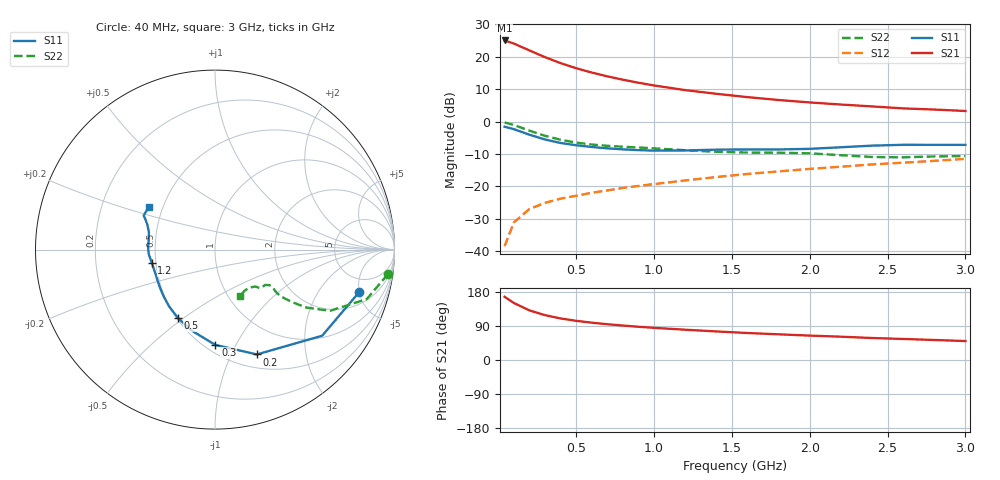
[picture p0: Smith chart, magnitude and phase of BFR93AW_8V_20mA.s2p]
! Filename:  BFR93AWG.S2P  Version:  4.0
! Philips part #: BFR93AW  Date: Jun 1994
! Bias condition: Vce=8V, Ic=20mA
#  MHz  S  MA  R  50
! Freq  S11  S21  S12  S22  !GUM [dB]
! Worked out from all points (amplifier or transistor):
!   21 points, 40 MHz to 3 GHz, reference 50 ohm
!   highest |S21| = 25.1 dB at 40 MHz (marker M1)
!   |S21| within 3 dB of that: start of sweep to 196 MHz
!   unconditionally stable (mu >= 1): 983.6 MHz to end of sweep
!   at 300 MHz: K = 0.54, MSG = 22.5 dB, |S12| = -25.0 dB
!   at 1 GHz: K = 1.01, MAG = 14.7 dB, |S12| = -19.3 dB
!   at 3 GHz: K = 1.03, MAG = 6.3 dB, |S12| = -11.5 dB
!   S11 on the Smith chart (normalised r, x): 40 MHz: 3.14, -4.98; 200 MHz: 0.65, -1.26; 300 MHz: 0.56, -0.83; 500 MHz: 0.51, -0.47; 1.2 GHz: 0.47, -0.08; 3 GHz: 0.42, +0.25
40  0.837 -16.5  17.93 166.7  0.012 81.5  0.973 -8.1
100  0.766 -38.8  16.04 150.3  0.028 71.0  0.889 -18.1
200  0.629 -68.2  12.57 130.8  0.045 60.5  0.726 -28.0
300  0.531 -89.8  9.882 118.3  0.056 56.2  0.605 -32.3
400  0.469 -106.3  8.005 109.6  0.065 55.6  0.526 -34.1
500  0.433 -118.6  6.681 103.4  0.072 56.1  0.476 -35.0
600  0.407 -128.9  5.73 98.5  0.08 57.4  0.444 -35.3
700  0.388 -137.2  5.007 94.4  0.087 58.8  0.424 -35.1
800  0.374 -144.6  4.444 90.9  0.095 60.2  0.411 -34.7
900  0.364 -151.3  3.989 87.7  0.102 61.3  0.4 -34.1
1000  0.358 -157.5  3.621 84.9  0.109 62.5  0.388 -33.5
1200  0.36 -168.2  3.071 79.9  0.124 64.3  0.363 -33.1
1400  0.37 -176.2  2.694 75.4  0.14 65.9  0.343 -35.0
1600  0.373 178.2  2.393 71.2  0.156 66.6  0.334 -38.5
1800  0.373 172.1  2.161 67.8  0.171 67.7  0.332 -40.1
2000  0.381 165.1  1.982 64.4  0.187 68.5  0.325 -40.8
2200  0.403 159.5  1.84 61.5  0.202 69.2  0.304 -42.6
2400  0.427 156.0  1.721 58.0  0.219 69.6  0.285 -48.0
2600  0.44 154.5  1.604 55.5  0.233 69.5  0.282 -54.9
2800  0.439 151.4  1.54 52.8  0.249 70.1  0.291 -59.4
3000  0.439 147.2  1.463 50.1  0.267 70.1  0.295 -61.9
